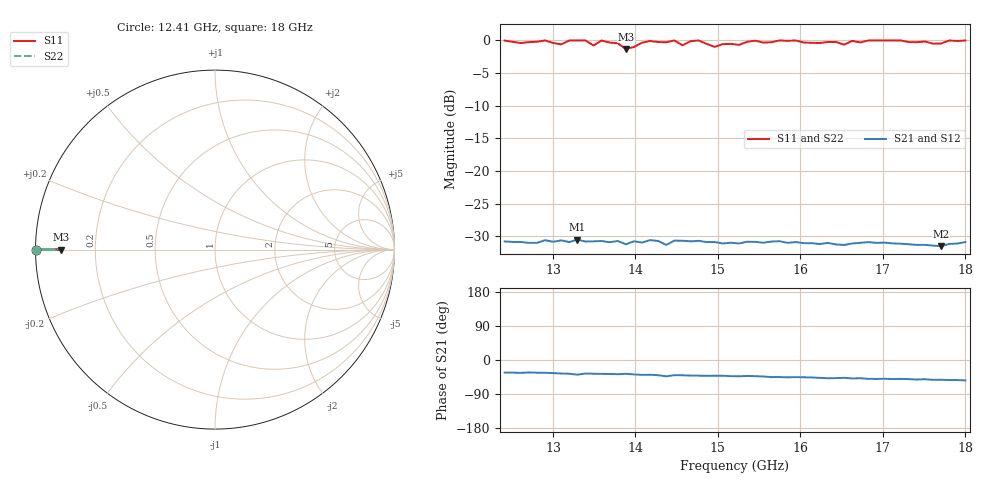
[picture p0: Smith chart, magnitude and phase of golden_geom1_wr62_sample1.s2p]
! Metasurface EMI Automation Touchstone S2P File
! Date: 2026-09-08
! Comment: WR-62 Ku-Band Measurement
# HZ S RI R 50
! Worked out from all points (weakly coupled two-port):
!   58 points, 12.41 GHz to 18 GHz, reference 50 ohm
!   highest |S21| = -30.54 dB at 13.3 GHz (marker M1); lowest = -31.5 dB at 17.71 GHz (marker M2)
!   lowest |S11| = -1.3 dB at 13.88 GHz (marker M3), VSWR 13.07, Z = 3.83 + j0.009 ohm
!   |S11| at or under -10 dB: nowhere
!   |S22| runs from -1.3 to 0.0 dB; largest |S21 - S12| = 0
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1.2414e10  -0.9968 -0.000391  0.0241 -0.0158  0.0241 -0.0158  -0.9968 -0.000391
1.2904e10  -0.9988 -0.000221  0.0245 -0.0164  0.0245 -0.0164  -0.9988 -0.000221
1.31e10  -0.9315 0.000302  0.0239 -0.0171  0.0239 -0.0171  -0.9315 0.000302
1.3296e10  -0.9988 -0.000128  0.0232 -0.0186  0.0232 -0.0186  -0.9988 -0.000128
1.3394e10  -0.9988 -0.000355  0.0234 -0.0168  0.0234 -0.0168  -0.9988 -0.000355
1.3492e10  -0.9143 -0.00054  0.0233 -0.0171  0.0233 -0.0171  -0.9143 -0.00054
1.359e10  -0.9988 -6.61e-05  0.0233 -0.0173  0.0233 -0.0173  -0.9988 -6.61e-05
1.3786e10  -0.9507 0.000433  0.0231 -0.0177  0.0231 -0.0177  -0.9507 0.000433
1.3884e10  -0.8578 0.000311  0.0221 -0.0163  0.0221 -0.0163  -0.8578 0.000311
1.4276e10  -0.9719 0.000163  0.0222 -0.0187  0.0222 -0.0187  -0.9719 0.000163
1.4472e10  -0.9988 -0.000355  0.0224 -0.0188  0.0224 -0.0188  -0.9988 -0.000355
1.457e10  -0.9169 0.000801  0.0223 -0.0189  0.0223 -0.0189  -0.9169 0.000801
1.4766e10  -0.9988 -8.01e-06  0.0219 -0.0193  0.0219 -0.0193  -0.9988 -8.01e-06
1.4962e10  -0.8918 0.000385  0.0213 -0.0189  0.0213 -0.0189  -0.8918 0.000385
1.5256e10  -0.924 -0.000663  0.0203 -0.019  0.0203 -0.019  -0.924 -0.000663
1.5452e10  -0.9962 0.000367  0.021 -0.0194  0.021 -0.0194  -0.9962 0.000367
1.6138e10  -0.958 -7.39e-05  0.0194 -0.0201  0.0194 -0.0201  -0.958 -7.39e-05
1.653e10  -0.9276 -3.99e-05  0.0185 -0.0198  0.0185 -0.0198  -0.9276 -3.99e-05
1.6628e10  -0.9913 2.8e-05  0.0184 -0.0209  0.0184 -0.0209  -0.9913 2.8e-05
1.7118e10  -0.9988 -0.000132  0.0178 -0.0214  0.0178 -0.0214  -0.9988 -0.000132
1.7706e10  -0.9461 0.000541  0.0163 -0.0209  0.0163 -0.0209  -0.9461 0.000541
1.8e10  -0.9988 -4.06e-05  0.0168 -0.023  0.0168 -0.023  -0.9988 -4.06e-05
